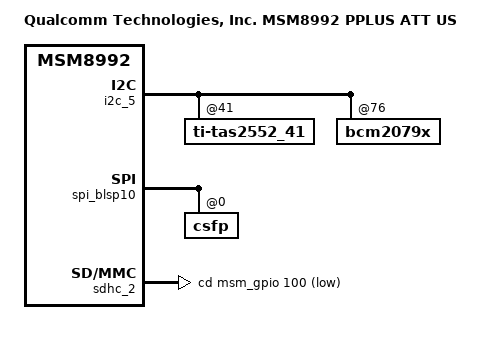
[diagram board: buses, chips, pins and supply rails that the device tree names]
/* Copyright (c) 2014, The Linux Foundation. All rights reserved.
 *
 * This program is free software; you can redistribute it and/or modify
 * it under the terms of the GNU General Public License version 2 and
 * only version 2 as published by the Free Software Foundation.
 *
 * This program is distributed in the hope that it will be useful,
 * but WITHOUT ANY WARRANTY; without even the implied warranty of
 * MERCHANTABILITY or FITNESS FOR A PARTICULAR PURPOSE.  See the
 * GNU General Public License for more details.
 */


/dts-v1/;

#include "../../qcom/msm8992.dtsi"
#include "msm8992-pplus_att_us.dtsi"

/ {
	model = "Qualcomm Technologies, Inc. MSM8992 PPLUS ATT US";
	compatible = "qcom,msm8992-cdp", "qcom,msm8992", "qcom,cdp";
	qcom,board-id = <0x265 0>;
};

//ADD HERE TO SUPPORT HW CHANGE

&soc {
	i2c_5: i2c@f9967000 {
		ti-tas2552_41@41 {
			status = "ok";
		};

		bcm2079x@76 {
			status = "ok";
		};
	};
};

&sdhc_2 {
	interrupt-map = <0 &intc 0 125 0
			1 &intc 0 221 0
			2 &msm_gpio 100 0x0>;
	cd-gpios = <&msm_gpio 100 0x1>;
	pinctrl-0 = <&sdc2_clk_on &sdc2_cmd_on &sdc2_data_on &sdc2_cd_on>;
	pinctrl-1 = <&sdc2_clk_off &sdc2_cmd_off &sdc2_data_off &sdc2_cd_off>;
	status = "ok";
};

/* fingerprint spi master */
&soc {
	spi_blsp12: spi_fpc@f9968000{
		status = "disabled";
	};
};

/* fingerprint fpc1022 */
&spi_blsp12 {
	csfp@0 {
		status = "disabled";
	};
};

/* fingerprint spi master */
&soc {
	spi_blsp10: spi_fpc@f9966000{
		status = "ok";
	};
};

/* fingerprint fpc1022 */
&spi_blsp10 {
	csfp@0 {
		status = "ok";
	};
};
